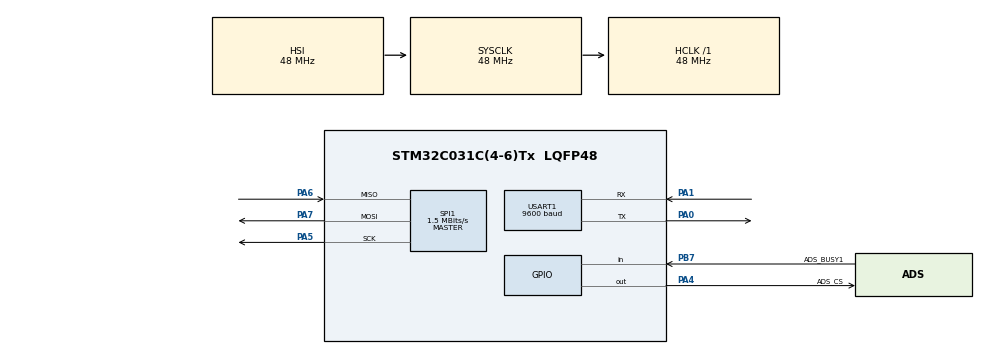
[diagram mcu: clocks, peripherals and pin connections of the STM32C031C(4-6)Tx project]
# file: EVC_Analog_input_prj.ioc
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Mcu.Family=STM32C0
Mcu.Name=STM32C031C(4-6)Tx
Mcu.Package=LQFP48
Mcu.UserConstants=I2C_Addr,0x3E
NVIC.USART1_IRQn=true\:0\:0\:false\:false\:true\:true\:true\:true
PA0.Mode=Asynchronous
PA0.Signal=USART1_TX
PA1.Mode=Asynchronous
PA1.Signal=USART1_RX
PA13.Mode=Serial_Wire
PA13.Signal=DEBUG_SWDIO
PA14-BOOT0.Mode=Serial_Wire
PA14-BOOT0.Signal=DEBUG_SWCLK
PA4.GPIO_Label=ADS_CS
PA4.GPIO_PuPd=GPIO_PULLUP
PA4.GPIO_Speed=GPIO_SPEED_FREQ_HIGH
PA4.PinState=GPIO_PIN_SET
PA4.Signal=GPIO_Output
PA5.Mode=Full_Duplex_Master
PA5.Signal=SPI1_SCK
PA6.Mode=Full_Duplex_Master
PA6.Signal=SPI1_MISO
PA7.Mode=Full_Duplex_Master
PA7.Signal=SPI1_MOSI
PB7.GPIO_Label=ADS_BUSY1
PB7.GPIO_PuPd=GPIO_PULLDOWN
PB7.Signal=GPIO_Input
ProjectManager.HeapSize=0x200
ProjectManager.StackSize=0x400
ProjectManager.TargetToolchain=STM32CubeIDE
RCC.ADCFreq_Value=48000000
RCC.AHBFreq_Value=48000000
RCC.CortexFreq_Value=48000000
RCC.EXTERNAL_CLOCK_VALUE=12288000
RCC.HCLKFreq_Value=48000000
RCC.HSE_VALUE=8000000
RCC.HSISYSCLKDivider=RCC_HSI_DIV1
RCC.HSI_VALUE=48000000
RCC.LSE_VALUE=32768
RCC.SYSCLKFreq_VALUE=48000000
SPI1.BaudRatePrescaler=SPI_BAUDRATEPRESCALER_32
SPI1.CalculateBaudRate=1.5 MBits/s
SPI1.Direction=SPI_DIRECTION_2LINES
SPI1.Mode=SPI_MODE_MASTER
SPI1.VirtualType=VM_MASTER
USART1.BaudRate=9600
USART1.VirtualMode-Asynchronous=VM_ASYNC
board=custom

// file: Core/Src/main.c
/* USER CODE BEGIN Header */
/**
  ******************************************************************************
  * @file           : main.c
  * @brief          : Main program body
  ******************************************************************************
  * @attention
  *
  * Copyright (c) 2024 STMicroelectronics.
  * All rights reserved.
  *
  * This software is licensed under terms that can be found in the LICENSE file
  * in the root directory of this software component.
  * If no LICENSE file comes with this software, it is provided AS-IS.
  *
  ******************************************************************************
  */
/* USER CODE END Header */
#include "main.h"

/* USER CODE BEGIN Includes */
#include "app_main.h"
#include "ads8344.h"
/* USER CODE END Includes */

SPI_HandleTypeDef hspi1;

UART_HandleTypeDef huart1;

void SystemClock_Config(void);
static void MX_GPIO_Init(void);
static void MX_SPI1_Init(void);
static void MX_USART1_UART_Init(void);

int main(void)
{

  /* MCU Configuration--------------------------------------------------------*/

  /* Reset of all peripherals, Initializes the Flash interface and the Systick. */
  HAL_Init();

  /* Configure the system clock */
  SystemClock_Config();

  /* Initialize all configured peripherals */
  MX_GPIO_Init();
  MX_SPI1_Init();
  MX_USART1_UART_Init();
  /* USER CODE BEGIN 2 */

  main_app();
  /* USER CODE END 2 */

  /* Infinite loop */
  while (1)
  {

  }
}

void SystemClock_Config(void)
{
  RCC_OscInitTypeDef RCC_OscInitStruct = {0};
  RCC_ClkInitTypeDef RCC_ClkInitStruct = {0};

  /** Initializes the RCC Oscillators according to the specified parameters
  * in the RCC_OscInitTypeDef structure.
  */
  RCC_OscInitStruct.OscillatorType = RCC_OSCILLATORTYPE_HSI;
  RCC_OscInitStruct.HSIState = RCC_HSI_ON;
  RCC_OscInitStruct.HSIDiv = RCC_HSI_DIV1;
  RCC_OscInitStruct.HSICalibrationValue = RCC_HSICALIBRATION_DEFAULT;
  if (HAL_RCC_OscConfig(&RCC_OscInitStruct) != HAL_OK)
  {
    Error_Handler();
  }

  /** Initializes the CPU, AHB and APB buses clocks
  */
  RCC_ClkInitStruct.ClockType = RCC_CLOCKTYPE_HCLK|RCC_CLOCKTYPE_SYSCLK
                              |RCC_CLOCKTYPE_PCLK1;
  RCC_ClkInitStruct.SYSCLKSource = RCC_SYSCLKSOURCE_HSI;
  RCC_ClkInitStruct.SYSCLKDivider = RCC_SYSCLK_DIV1;
  RCC_ClkInitStruct.AHBCLKDivider = RCC_HCLK_DIV1;
  RCC_ClkInitStruct.APB1CLKDivider = RCC_APB1_DIV1;

  if (HAL_RCC_ClockConfig(&RCC_ClkInitStruct, FLASH_LATENCY_1) != HAL_OK)
  {
    Error_Handler();
  }
}

static void MX_SPI1_Init(void)
{

  /* USER CODE BEGIN SPI1_Init 0 */
#ifdef use_ads_spi
  /* USER CODE END SPI1_Init 0 */

  /* SPI1 parameter configuration*/
  hspi1.Instance = SPI1;
  hspi1.Init.Mode = SPI_MODE_MASTER;
  hspi1.Init.Direction = SPI_DIRECTION_2LINES;
  hspi1.Init.DataSize = SPI_DATASIZE_8BIT;
  hspi1.Init.CLKPolarity = SPI_POLARITY_LOW;
  hspi1.Init.CLKPhase = SPI_PHASE_1EDGE;
  hspi1.Init.NSS = SPI_NSS_SOFT;
  hspi1.Init.BaudRatePrescaler = SPI_BAUDRATEPRESCALER_32;
  hspi1.Init.FirstBit = SPI_FIRSTBIT_MSB;
  hspi1.Init.TIMode = SPI_TIMODE_DISABLE;
  hspi1.Init.CRCCalculation = SPI_CRCCALCULATION_DISABLE;
  hspi1.Init.CRCPolynomial = 7;
  hspi1.Init.CRCLength = SPI_CRC_LENGTH_DATASIZE;
  hspi1.Init.NSSPMode = SPI_NSS_PULSE_ENABLE;
  if (HAL_SPI_Init(&hspi1) != HAL_OK)
  {
    Error_Handler();
  }
  /* USER CODE BEGIN SPI1_Init 2 */
#endif
  /* USER CODE END SPI1_Init 2 */

}

static void MX_USART1_UART_Init(void)
{

  huart1.Instance = USART1;
  huart1.Init.BaudRate = 9600;
  huart1.Init.WordLength = UART_WORDLENGTH_8B;
  huart1.Init.StopBits = UART_STOPBITS_1;
  huart1.Init.Parity = UART_PARITY_NONE;
  huart1.Init.Mode = UART_MODE_TX_RX;
  huart1.Init.HwFlowCtl = UART_HWCONTROL_NONE;
  huart1.Init.OverSampling = UART_OVERSAMPLING_16;
  huart1.Init.OneBitSampling = UART_ONE_BIT_SAMPLE_DISABLE;
  huart1.Init.ClockPrescaler = UART_PRESCALER_DIV1;
  huart1.AdvancedInit.AdvFeatureInit = UART_ADVFEATURE_NO_INIT;
  if (HAL_UART_Init(&huart1) != HAL_OK)
  {
    Error_Handler();
  }
  if (HAL_UARTEx_SetTxFifoThreshold(&huart1, UART_TXFIFO_THRESHOLD_1_8) != HAL_OK)
  {
    Error_Handler();
  }
  if (HAL_UARTEx_SetRxFifoThreshold(&huart1, UART_RXFIFO_THRESHOLD_1_8) != HAL_OK)
  {
    Error_Handler();
  }
  if (HAL_UARTEx_DisableFifoMode(&huart1) != HAL_OK)
  {
    Error_Handler();
  }

}

static void MX_GPIO_Init(void)
{
  GPIO_InitTypeDef GPIO_InitStruct = {0};

  /* GPIO Ports Clock Enable */
  __HAL_RCC_GPIOC_CLK_ENABLE();
  __HAL_RCC_GPIOF_CLK_ENABLE();
  __HAL_RCC_GPIOA_CLK_ENABLE();
  __HAL_RCC_GPIOB_CLK_ENABLE();
  __HAL_RCC_GPIOD_CLK_ENABLE();

  /*Configure GPIO pin Output Level */
  HAL_GPIO_WritePin(ADS_CS_GPIO_Port, ADS_CS_Pin, GPIO_PIN_SET);

  /*Configure GPIO pins : PC13 PC14 PC15 PC6
                           PC7 */
  GPIO_InitStruct.Pin = GPIO_PIN_13|GPIO_PIN_14|GPIO_PIN_15|GPIO_PIN_6
                          |GPIO_PIN_7;
  GPIO_InitStruct.Mode = GPIO_MODE_ANALOG;
  GPIO_InitStruct.Pull = GPIO_NOPULL;
  HAL_GPIO_Init(GPIOC, &GPIO_InitStruct);

  /*Configure GPIO pins : PF3 PF0 PF1 PF2 */
  GPIO_InitStruct.Pin = GPIO_PIN_3|GPIO_PIN_0|GPIO_PIN_1|GPIO_PIN_2;
  GPIO_InitStruct.Mode = GPIO_MODE_ANALOG;
  GPIO_InitStruct.Pull = GPIO_NOPULL;
  HAL_GPIO_Init(GPIOF, &GPIO_InitStruct);

  /*Configure GPIO pins : PA2 PA3 PA8 PA9
                           PA10 PA11 PA12 PA15 */
  GPIO_InitStruct.Pin = GPIO_PIN_2|GPIO_PIN_3|GPIO_PIN_8|GPIO_PIN_9
                          |GPIO_PIN_10|GPIO_PIN_11|GPIO_PIN_12|GPIO_PIN_15;
  GPIO_InitStruct.Mode = GPIO_MODE_ANALOG;
  GPIO_InitStruct.Pull = GPIO_NOPULL;
  HAL_GPIO_Init(GPIOA, &GPIO_InitStruct);

  /*Configure GPIO pin : ADS_CS_Pin */
  GPIO_InitStruct.Pin = ADS_CS_Pin;
  GPIO_InitStruct.Mode = GPIO_MODE_OUTPUT_PP;
  GPIO_InitStruct.Pull = GPIO_PULLUP;
  GPIO_InitStruct.Speed = GPIO_SPEED_FREQ_HIGH;
  HAL_GPIO_Init(ADS_CS_GPIO_Port, &GPIO_InitStruct);

  /*Configure GPIO pins : PB0 PB1 PB2 PB10
                           PB11 PB12 PB13 PB14
                           PB15 PB3 PB4 PB5
                           PB6 PB8 PB9 */
  GPIO_InitStruct.Pin = GPIO_PIN_0|GPIO_PIN_1|GPIO_PIN_2|GPIO_PIN_10
                          |GPIO_PIN_11|GPIO_PIN_12|GPIO_PIN_13|GPIO_PIN_14
                          |GPIO_PIN_15|GPIO_PIN_3|GPIO_PIN_4|GPIO_PIN_5
                          |GPIO_PIN_6|GPIO_PIN_8|GPIO_PIN_9;
  GPIO_InitStruct.Mode = GPIO_MODE_ANALOG;
  GPIO_InitStruct.Pull = GPIO_NOPULL;
  HAL_GPIO_Init(GPIOB, &GPIO_InitStruct);

  /*Configure GPIO pins : PD0 PD1 PD2 PD3 */
  GPIO_InitStruct.Pin = GPIO_PIN_0|GPIO_PIN_1|GPIO_PIN_2|GPIO_PIN_3;
  GPIO_InitStruct.Mode = GPIO_MODE_ANALOG;
  GPIO_InitStruct.Pull = GPIO_NOPULL;
  HAL_GPIO_Init(GPIOD, &GPIO_InitStruct);

  /*Configure GPIO pin : ADS_BUSY1_Pin */
  GPIO_InitStruct.Pin = ADS_BUSY1_Pin;
  GPIO_InitStruct.Mode = GPIO_MODE_INPUT;
  GPIO_InitStruct.Pull = GPIO_PULLDOWN;
  HAL_GPIO_Init(ADS_BUSY1_GPIO_Port, &GPIO_InitStruct);

/* USER CODE BEGIN MX_GPIO_Init_2 */
#ifdef use_ads_bitbang
  /*Configure GPIO pins : SCKI_Pin DINI_Pin */
  GPIO_InitStruct.Pin = SCKI_Pin|DINI_Pin;
  GPIO_InitStruct.Mode = GPIO_MODE_OUTPUT_PP;
  GPIO_InitStruct.Pull = GPIO_NOPULL;
  GPIO_InitStruct.Speed = GPIO_SPEED_FREQ_LOW;
  HAL_GPIO_Init(GPIOA, &GPIO_InitStruct);

  /*Configure GPIO pin : DOUTI_Pin */
  GPIO_InitStruct.Pin = DOUTI_Pin;
  GPIO_InitStruct.Mode = GPIO_MODE_INPUT;
  GPIO_InitStruct.Pull = GPIO_PULLDOWN;
  HAL_GPIO_Init(DOUTI_GPIO_Port, &GPIO_InitStruct);

  /*Configure GPIO pin Output Level */
  HAL_GPIO_WritePin(GPIOA, SCKI_Pin|DINI_Pin, GPIO_PIN_RESET);
#endif

/* USER CODE END MX_GPIO_Init_2 */
}

void Error_Handler(void)
{
  __disable_irq();
  while (1)
  {
  }
}
